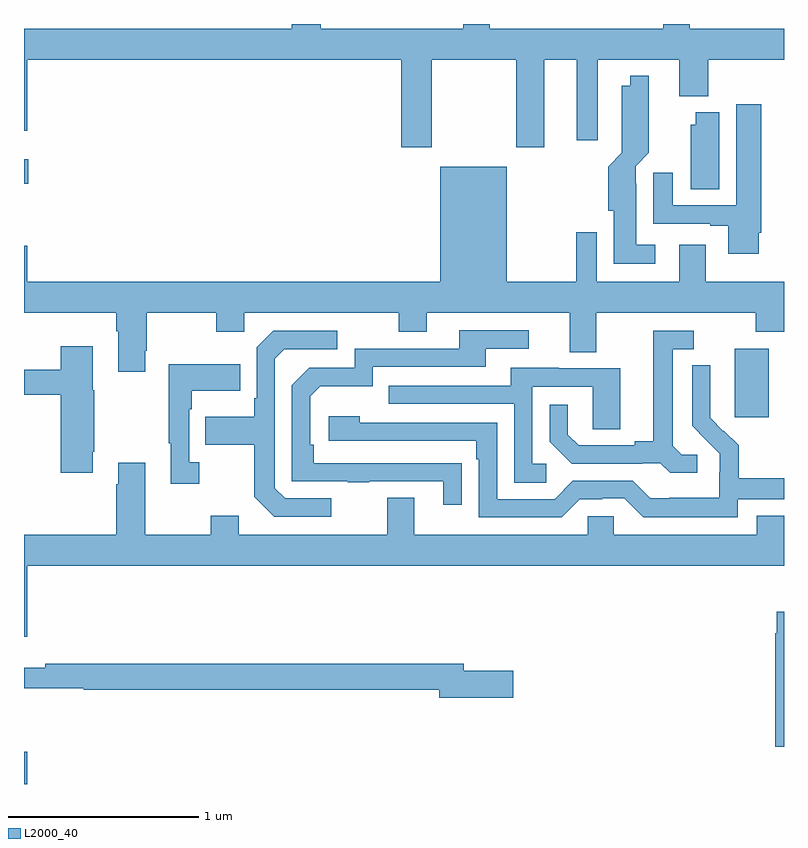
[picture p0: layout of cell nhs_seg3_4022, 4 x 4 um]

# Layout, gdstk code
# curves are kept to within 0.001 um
import gdstk
lib = gdstk.Library(unit=1e-6, precision=1e-09)
def R(c, l, rs):  # rectangles x0, y0, x1, y1
    for r in rs: c.add(gdstk.rectangle(r[:2], r[2:], *l))
def P(c, l, *ps):  # polygons
    for p in ps: c.add(gdstk.Polygon(p, *l))
L2000_40 = (2000, 40)

nhs_seg3_4022 = lib.new_cell('nhs_seg3_4022')
R(nhs_seg3_4022, L2000_40, [(321,734.4,321.016,734.569), (324.74,736.329,324.919,736.69), (321,737.56,321.022,737.689)])
P(nhs_seg3_4022, L2000_40, [(323.145,738.212),(323.59,738.212),(323.59,737.751),(323.737,737.751),(323.737,738.212),(323.909,738.212),(323.909,737.787),(324.019,737.787),(324.019,738.212),(324.449,738.212),(324.449,738.02),(324.602,738.02),(324.602,738.212),(325,738.212),(325,738.376),(324.505,738.376),(324.505,738.4),(324.365,738.4),(324.365,738.376),(323.451,738.376),(323.451,738.4),(323.313,738.4),(323.313,738.376),(322.561,738.376),(322.561,738.4),(322.409,738.4),(322.409,738.376),(321,738.376),(321,737.838),(321.016,737.838),(321.016,738.212),(322.985,738.212),(322.985,737.751),(323.145,737.751)],
  [(324.322,737.239),(324.223,737.239),(324.223,737.558),(324.219,737.558),(324.219,737.652),(324.289,737.722),(324.288,738.127),(324.191,738.127),(324.191,738.076),(324.146,738.076),(324.146,737.722),(324.074,737.65),(324.074,737.418),(324.104,737.418),(324.104,737.138),(324.322,737.138)],
  [(324.868,737.302),(324.881,737.302),(324.881,737.977),(324.749,737.977),(324.749,737.445),(324.415,737.445),(324.415,737.617),(324.311,737.617),(324.311,737.349),(324.611,737.349),(324.611,737.337),(324.707,737.337),(324.707,737.19),(324.868,737.19)],
  [(324.658,737.935),(324.536,737.935),(324.536,737.871),(324.509,737.871),(324.509,737.53),(324.658,737.53)],
  [(323.907,737.044),(323.542,737.044),(323.542,737.65),(323.192,737.65),(323.192,737.044),(321.016,737.044),(321.016,737.233),(321,737.233),(321,736.88),(321.485,736.88),(321.485,736.784),(321.497,736.784),(321.497,736.569),(321.637,736.569),(321.637,736.681),(321.645,736.681),(321.645,736.88),(322.012,736.88),(322.012,736.781),(322.158,736.781),(322.158,736.88),(322.972,736.88),(322.972,736.781),(323.119,736.781),(323.119,736.88),(323.873,736.88),(323.873,736.672),(324.013,736.672),(324.013,736.88),(324.85,736.88),(324.85,736.781),(325,736.781),(325,737.044),(324.589,737.044),(324.589,737.239),(324.449,737.239),(324.449,737.044),(324.015,737.044),(324.015,737.305),(323.907,737.305)],
  [(323.303,736.088),(322.526,736.089),(322.526,736.186),(322.506,736.186),(322.506,736.44),(322.559,736.493),(322.836,736.493),(322.836,736.596),(323.431,736.596),(323.431,736.692),(323.656,736.692),(323.656,736.788),(323.291,736.788),(323.291,736.692),(322.74,736.692),(322.74,736.59),(322.5,736.59),(322.41,736.5),(322.41,735.993),(322.705,735.993),(322.705,735.988),(322.817,735.988),(322.817,735.993),(323.207,735.993),(323.207,735.87),(323.303,735.87)],
  [(322.618,735.903),(322.374,735.903),(322.32,735.957),(322.32,736.638),(322.371,736.689),(322.648,736.689),(322.648,736.785),(322.311,736.785),(322.224,736.698),(322.224,736.429),(322.212,736.429),(322.212,736.333),(321.955,736.333),(321.955,736.186),(322.212,736.186),(322.212,735.913),(322.317,735.807),(322.618,735.807)],
  [(324.544,736.134),(324.462,736.134),(324.415,736.181),(324.415,736.689),(324.526,736.689),(324.526,736.785),(324.311,736.785),(324.311,736.205),(324.215,736.205),(324.215,736.182),(323.92,736.182),(323.863,736.239),(323.863,736.396),(323.766,736.396),(323.766,736.202),(323.882,736.086),(324.254,736.086),(324.254,736.089),(324.348,736.089),(324.4,736.037),(324.544,736.037)],
  [(321.361,736.15),(321.369,736.15),(321.369,736.473),(321.361,736.473),(321.361,736.705),(321.194,736.705),(321.194,736.579),(321,736.579),(321,736.45),(321.194,736.45),(321.194,736.038),(321.361,736.038)],
  [(321.922,736.094),(321.87,736.094),(321.87,736.373),(321.883,736.373),(321.883,736.469),(322.139,736.469),(322.139,736.609),(321.762,736.609),(321.762,736.193),(321.773,736.193),(321.773,735.981),(321.922,735.981)],
  [(324.756,735.9),(325,735.9),(325,736.009),(324.761,736.009),(324.761,736.183),(324.684,736.26),(324.681,736.257),(324.611,736.328),(324.612,736.604),(324.516,736.604),(324.516,736.286),(324.662,736.138),(324.662,736.041),(324.66,736.041),(324.66,735.907),(324.397,735.907),(324.397,735.903),(324.297,735.903),(324.204,735.996),(323.889,735.996),(323.793,735.9),(323.49,735.9),(323.49,736.302),(322.766,736.302),(322.766,736.336),(322.605,736.336),(322.605,736.206),(323.381,736.206),(323.381,736.109),(323.394,736.109),(323.394,735.804),(323.829,735.804),(323.925,735.9),(324.044,735.9),(324.044,735.903),(324.159,735.903),(324.259,735.803),(324.756,735.803)],
  [(323.749,736.086),(323.676,736.086),(323.676,736.491),(323.994,736.491),(323.994,736.267),(324.139,736.267),(324.139,736.587),(323.815,736.587),(323.815,736.591),(323.561,736.591),(323.561,736.497),(322.921,736.497),(322.921,736.401),(323.58,736.401),(323.58,735.985),(323.749,735.985)],
  [(321.016,735.548),(325,735.548),(325,735.811),(324.857,735.811),(324.857,735.712),(324.105,735.712),(324.105,735.81),(323.967,735.81),(323.967,735.712),(323.053,735.712),(323.053,735.907),(322.913,735.907),(322.913,735.712),(322.129,735.712),(322.129,735.811),(321.982,735.811),(321.982,735.712),(321.637,735.712),(321.637,736.09),(321.497,736.09),(321.497,735.977),(321.485,735.977),(321.485,735.712),(321,735.712),(321,735.174),(321.016,735.174)],
  [(325,735.307),(324.963,735.307),(324.963,735.194),(324.955,735.194),(324.955,734.597),(325,734.597)],
  [(323.575,734.996),(323.314,734.996),(323.314,735.032),(321.112,735.032),(321.112,735.013),(321,735.013),(321,734.904),(321.314,734.904),(321.314,734.896),(323.186,734.896),(323.186,734.854),(323.575,734.854)])

lib.write_gds('nhs_seg3_4022.gds')
